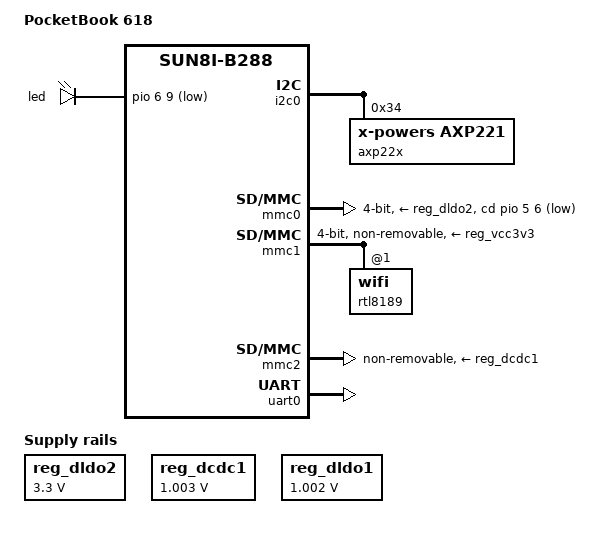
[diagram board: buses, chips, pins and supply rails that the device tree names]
// SPDX-License-Identifier: (GPL-2.0+ OR MIT)
// Copyright (C) 2025 ARM Ltd.
// based on the Allwinner H3 dtsi:
//    Copyright (C) 2015 Jens Kuske <jenskuske@gmail.com>

/dts-v1/;
#include "sun8i-b288.dtsi"
#include "sunxi-common-regulators.dtsi"

#include <dt-bindings/gpio/gpio.h>
#include <dt-bindings/input/input.h>

/ {
	model = "PocketBook 618";
	compatible = "pocketbook,pb-618", "allwinner,sun8i-b288";

	aliases {
		serial0 = &uart0;
	};

	chosen {
		stdout-path = "serial0:115200n8";
	};

	leds {
		compatible = "gpio-leds";

		led {
			gpios = <&pio 6 9 GPIO_ACTIVE_LOW>; /* PG9 */
			default-state = "on";
		};
	};
};

&i2c0 {
	status = "okay";

	axp22x: pmic@34 {
		compatible = "x-powers,axp221";
		reg = <0x34>;
		interrupt-parent = <&r_intc>;
		interrupts = <0 0 IRQ_TYPE_LEVEL_LOW>;
	};
};

#include "axp22x.dtsi"

&reg_dldo2 {
	regulator-always-on;
	regulator-min-microvolt = <3300000>;
	regulator-max-microvolt = <3300000>;
	regulator-name = "vcc-sdcv";
};

&reg_dcdc1 {
	regulator-always-on;
	regulator-min-microvolt = <1003000>;
	regulator-max-microvolt = <1003000>;
	regulator-name = "vcc-emmcv-p3";
};

&reg_dldo1 {
	regulator-always-on;
	regulator-min-microvolt = <1001800>;
	regulator-max-microvolt = <1001800>;
	regulator-name = "vcc-emmcvq18-p3";
};

&mmc0 {
	vmmc-supply = <&reg_dldo2>;
	bus-width = <4>;
	cd-gpios = <&pio 5 6 GPIO_ACTIVE_LOW>; /* PF6 */
	status = "okay";
};

&mmc1 {
	vmmc-supply = <&reg_vcc3v3>;
	bus-width = <4>;
	non-removable;
	status = "okay";

	/*
	 * Explicitly define the sdio device, so that we can add an ethernet
	 * alias for it (which e.g. makes u-boot set a mac-address).
	 */
	rtl8189: wifi@1 {
		reg = <1>;
	};
};

&mmc2 {
	vmmc-supply = <&reg_dcdc1>;
	vqmmc-supply = <&reg_dldo1>;
	pinctrl-names = "default";
	pinctrl-0 = <&mmc2_8bit_pins>;
	non-removable;
	status = "okay";
};

&reg_usb1_vbus {
	gpio = <&pio 6 13 GPIO_ACTIVE_HIGH>;
	status = "okay";
};

&uart0 {
	pinctrl-names = "default";
	pinctrl-0 = <&uart0_pb_pins>;
	status = "okay";
};
